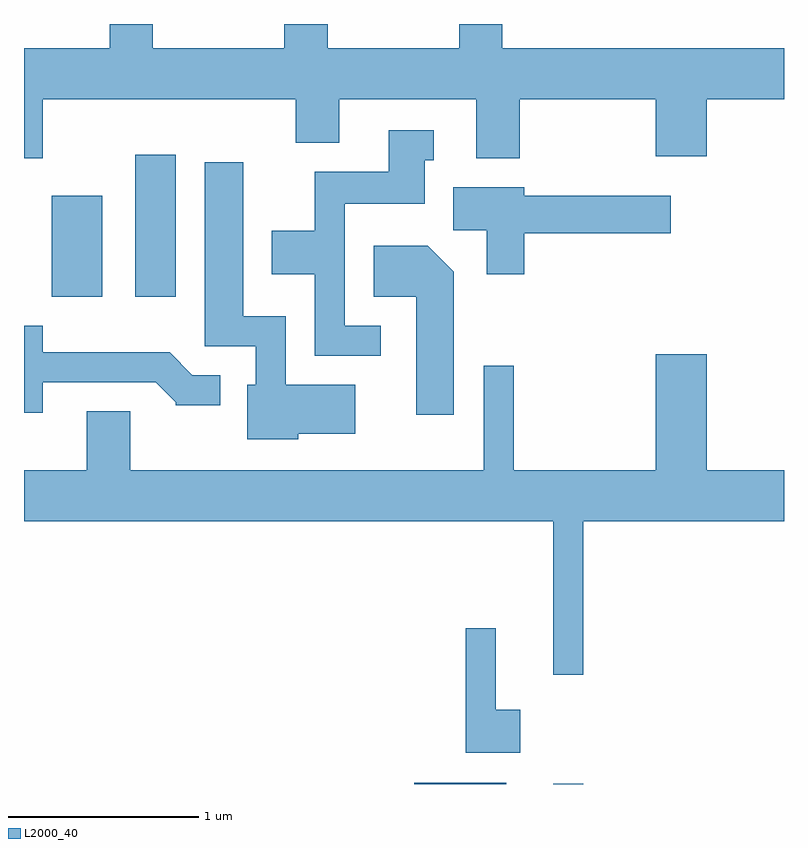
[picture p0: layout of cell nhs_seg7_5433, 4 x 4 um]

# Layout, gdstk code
import gdstk
lib = gdstk.Library(unit=1e-6, precision=1e-09)
def R(c, l, rs):  # rectangles x0, y0, x1, y1
    for r in rs: c.add(gdstk.rectangle(r[:2], r[2:], *l))
def P(c, l, *ps):  # polygons
    for p in ps: c.add(gdstk.Polygon(p, *l))
L2000_40 = (2000, 40)

nhs_seg7_5433 = lib.new_cell('nhs_seg7_5433')
R(nhs_seg7_5433, L2000_40, [(353.666,1726.252,354.149,1726.259), (354.396,1726.252,354.554,1726.253), (351.756,1728.816,352.024,1729.349), (352.196,1728.816,352.409,1729.564)])
P(nhs_seg7_5433, L2000_40, [(351.709,1729.856),(353.041,1729.856),(353.041,1729.626),(353.269,1729.626),(353.269,1729.856),(353.991,1729.856),(353.991,1729.546),(354.219,1729.546),(354.219,1729.856),(354.936,1729.856),(354.936,1729.556),(355.204,1729.556),(355.204,1729.856),(355.611,1729.856),(355.611,1730.124),(354.129,1730.124),(354.129,1730.252),(353.901,1730.252),(353.901,1730.124),(353.209,1730.124),(353.209,1730.252),(352.981,1730.252),(352.981,1730.124),(352.289,1730.124),(352.289,1730.252),(352.061,1730.252),(352.061,1730.124),(351.611,1730.124),(351.611,1729.546),(351.709,1729.546)],
  [(353.488,1728.664),(353.299,1728.664),(353.299,1729.306),(353.719,1729.306),(353.719,1729.536),(353.768,1729.536),(353.768,1729.694),(353.531,1729.694),(353.531,1729.474),(353.141,1729.474),(353.141,1729.164),(352.916,1729.164),(352.916,1728.936),(353.141,1728.936),(353.141,1728.506),(353.488,1728.506)],
  [(353.054,1728.096),(353.354,1728.096),(353.354,1728.354),(352.989,1728.354),(352.989,1728.714),(352.764,1728.714),(352.764,1729.524),(352.561,1729.524),(352.561,1728.556),(352.831,1728.556),(352.831,1728.354),(352.786,1728.354),(352.786,1728.066),(353.054,1728.066)],
  [(354.244,1729.151),(355.014,1729.151),(355.014,1729.349),(354.244,1729.349),(354.244,1729.394),(353.871,1729.394),(353.871,1729.166),(354.046,1729.166),(354.046,1728.936),(354.244,1728.936)],
  [(353.874,1728.947),(353.737,1729.084),(353.451,1729.084),(353.451,1728.816),(353.676,1728.816),(353.676,1728.196),(353.874,1728.196)],
  [(351.709,1728.366),(352.304,1728.366),(352.41,1728.26),(352.41,1728.246),(352.643,1728.246),(352.643,1728.404),(352.497,1728.404),(352.377,1728.524),(351.709,1728.524),(351.709,1728.664),(351.611,1728.664),(351.611,1728.206),(351.709,1728.206)],
  [(354.554,1727.636),(355.611,1727.636),(355.611,1727.904),(355.204,1727.904),(355.204,1728.514),(354.936,1728.514),(354.936,1727.904),(354.189,1727.904),(354.189,1728.453),(354.031,1728.453),(354.031,1727.904),(352.169,1727.904),(352.169,1728.214),(351.941,1728.214),(351.941,1727.904),(351.611,1727.904),(351.611,1727.636),(354.396,1727.636),(354.396,1726.828),(354.554,1726.828)],
  [(354.224,1726.644),(354.094,1726.644),(354.094,1727.073),(353.936,1727.073),(353.936,1726.416),(354.224,1726.416)])

lib.write_gds('nhs_seg7_5433.gds')
